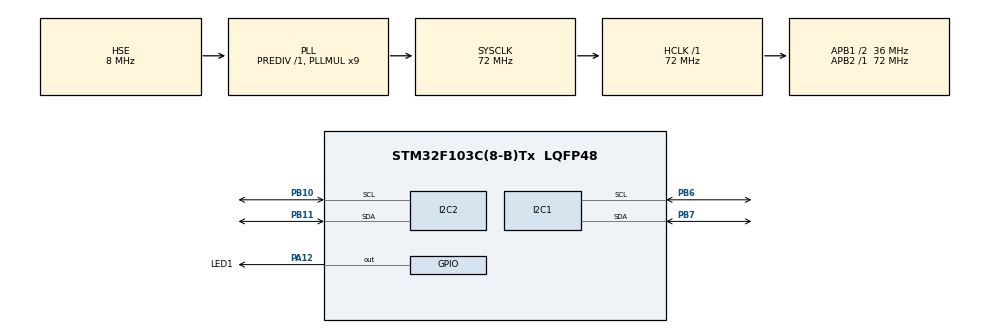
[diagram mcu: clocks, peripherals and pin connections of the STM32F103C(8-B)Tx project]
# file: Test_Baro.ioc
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Mcu.Family=STM32F1
Mcu.Name=STM32F103C(8-B)Tx
Mcu.Package=LQFP48
NVIC.PriorityGroup=NVIC_PRIORITYGROUP_4
PA12.GPIO_Label=LED1
PA12.Signal=GPIO_Output
PA13.Mode=Serial_Wire
PA13.Signal=SYS_JTMS-SWDIO
PA14.Mode=Serial_Wire
PA14.Signal=SYS_JTCK-SWCLK
PB10.Mode=I2C
PB10.Signal=I2C2_SCL
PB11.Mode=I2C
PB11.Signal=I2C2_SDA
PB6.Mode=I2C
PB6.Signal=I2C1_SCL
PB7.Mode=I2C
PB7.Signal=I2C1_SDA
PD0-OSC_IN.Mode=HSE-External-Oscillator
PD0-OSC_IN.Signal=RCC_OSC_IN
PD1-OSC_OUT.Mode=HSE-External-Oscillator
PD1-OSC_OUT.Signal=RCC_OSC_OUT
ProjectManager.HeapSize=0x200
ProjectManager.StackSize=0x400
ProjectManager.TargetToolchain=CMake
RCC.AHBFreq_Value=72000000
RCC.APB1CLKDivider=RCC_HCLK_DIV2
RCC.APB1Freq_Value=36000000
RCC.APB1TimFreq_Value=72000000
RCC.APB2Freq_Value=72000000
RCC.APB2TimFreq_Value=72000000
RCC.HCLKFreq_Value=72000000
RCC.PLLMUL=RCC_PLL_MUL9
RCC.PLLSourceVirtual=RCC_PLLSOURCE_HSE
RCC.SYSCLKFreq_VALUE=72000000
RCC.SYSCLKSource=RCC_SYSCLKSOURCE_PLLCLK
RCC.USBFreq_Value=72000000
board=custom

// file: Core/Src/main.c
/* USER CODE BEGIN Header */
/**
  ******************************************************************************
  * @file           : main.c
  * @brief          : Main program body
  ******************************************************************************
  * @attention
  *
  * Copyright (c) 2026 STMicroelectronics.
  * All rights reserved.
  *
  * This software is licensed under terms that can be found in the LICENSE file
  * in the root directory of this software component.
  * If no LICENSE file comes with this software, it is provided AS-IS.
  *
  ******************************************************************************
  */
/* USER CODE END Header */
#include "main.h"
#include "i2c.h"
#include "gpio.h"

/* USER CODE BEGIN Includes */
#include "Test_hw.h"
#include "Int_mpu6050.h"
#include "Int_spl06.h"
/* USER CODE END Includes */

/* USER CODE BEGIN PV */
// 调试器查看全局变量声明
// Test_hw.c 中定义
extern uint32_t g_clock_freq;        // 时钟频率（Hz）
extern uint8_t  g_clock_ok;          // 时钟状态：1=正常，0=失败
extern uint8_t  g_mpu6050_ok;        // 陀螺仪状态：1=正常，0=失败
extern uint8_t  g_spl06_ok;          // 气压计状态：1=正常，0=失败
extern uint8_t  g_all_passed;        // 综合状态：1=全部通过，0=有失败

// Int_mpu6050.c 中定义
extern Gyro_struct g_mpu6050_gyro;         // 陀螺仪原始数据
extern Accel_struct g_mpu6050_accel;       // 加速度计原始数据
extern Gyro_Accel_Struct g_mpu6050_data;   // 完整数据
extern uint8_t g_mpu6050_data_ready;       // 数据就绪标志

// Int_spl06.c 中定义
extern SPL06_Data_Struct g_spl06_data;     // 气压计数据（压力、温度、高度）
extern int32_t g_spl06_raw_pressure;       // 原始压力值
extern int32_t g_spl06_raw_temperature;    // 原始温度值
extern uint8_t g_spl06_data_ready;         // 数据就绪标志
/* USER CODE END PV */

void SystemClock_Config(void);

int main(void)
{

  /* MCU Configuration--------------------------------------------------------*/

  /* Reset of all peripherals, Initializes the Flash interface and the Systick. */
  HAL_Init();

  /* Configure the system clock */
  SystemClock_Config();

  /* Initialize all configured peripherals */
  MX_GPIO_Init();
  MX_I2C2_Init();
  MX_I2C1_Init();
  /* USER CODE BEGIN 2 */

  // 初始化传感器
  Int_MPU6050_Init();

  // SPL06 初始化，检查返回值
  if (Int_SPL06_Init() != 0)
  {
    // 初始化失败，气压计无法使用
    // LED 常亮或保持其他错误指示
    g_spl06_data.pressure = 0;
    g_spl06_data.temperature = 0;
    g_spl06_data.altitude = 0;
  }

  /* USER CODE END 2 */

  /* Infinite loop */
  /* USER CODE BEGIN WHILE */
  while (1)
  {
    // 读取 MPU6050 数据（陀螺仪 + 加速度计）
    Int_MPU6050_Test_Read();

    // 读取 SPL06 数据（气压 + 温度 + 高度）
    Int_SPL06_Test_Read();

    /* USER CODE END WHILE */

  }
}

void SystemClock_Config(void)
{
  RCC_OscInitTypeDef RCC_OscInitStruct = {0};
  RCC_ClkInitTypeDef RCC_ClkInitStruct = {0};

  /** Initializes the RCC Oscillators according to the specified parameters
  * in the RCC_OscInitTypeDef structure.
  */
  RCC_OscInitStruct.OscillatorType = RCC_OSCILLATORTYPE_HSE;
  RCC_OscInitStruct.HSEState = RCC_HSE_ON;
  RCC_OscInitStruct.HSEPredivValue = RCC_HSE_PREDIV_DIV1;
  RCC_OscInitStruct.HSIState = RCC_HSI_ON;
  RCC_OscInitStruct.PLL.PLLState = RCC_PLL_ON;
  RCC_OscInitStruct.PLL.PLLSource = RCC_PLLSOURCE_HSE;
  RCC_OscInitStruct.PLL.PLLMUL = RCC_PLL_MUL9;
  if (HAL_RCC_OscConfig(&RCC_OscInitStruct) != HAL_OK)
  {
    Error_Handler();
  }

  /** Initializes the CPU, AHB and APB buses clocks
  */
  RCC_ClkInitStruct.ClockType = RCC_CLOCKTYPE_HCLK|RCC_CLOCKTYPE_SYSCLK
                              |RCC_CLOCKTYPE_PCLK1|RCC_CLOCKTYPE_PCLK2;
  RCC_ClkInitStruct.SYSCLKSource = RCC_SYSCLKSOURCE_PLLCLK;
  RCC_ClkInitStruct.AHBCLKDivider = RCC_SYSCLK_DIV1;
  RCC_ClkInitStruct.APB1CLKDivider = RCC_HCLK_DIV2;
  RCC_ClkInitStruct.APB2CLKDivider = RCC_HCLK_DIV1;

  if (HAL_RCC_ClockConfig(&RCC_ClkInitStruct, FLASH_LATENCY_2) != HAL_OK)
  {
    Error_Handler();
  }
}

void Error_Handler(void)
{
  __disable_irq();
  while (1)
  {
  }
}
